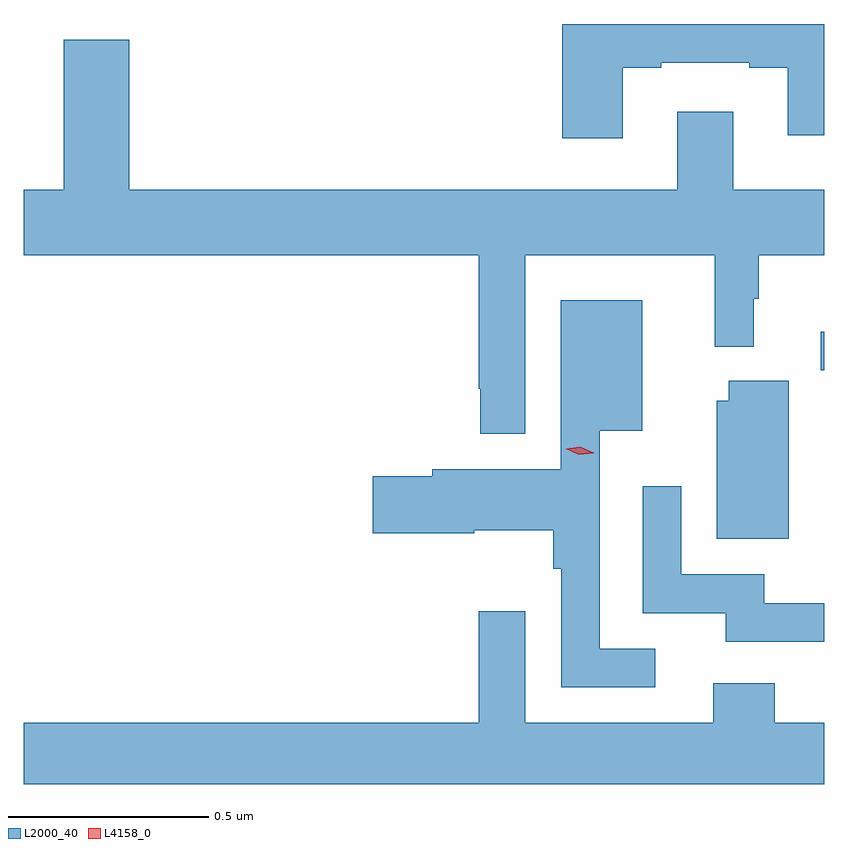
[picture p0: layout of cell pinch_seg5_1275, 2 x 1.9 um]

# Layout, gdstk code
import gdstk
lib = gdstk.Library(unit=1e-6, precision=1e-09)
def R(c, l, rs):  # rectangles x0, y0, x1, y1
    for r in rs: c.add(gdstk.rectangle(r[:2], r[2:], *l))
def P(c, l, *ps):  # polygons
    for p in ps: c.add(gdstk.Polygon(p, *l))
L2000_40 = (2000, 40)
L4158_0 = (4158, 0)

pinch_seg5_1275 = lib.new_cell('pinch_seg5_1275')
R(pinch_seg5_1275, L2000_40, [(478.587,897.765,478.596,897.861)])
P(pinch_seg5_1275, L2000_40, [(478.093,898.521),(478.189,898.521),(478.189,898.533),(478.409,898.533),(478.409,898.521),(478.505,898.521),(478.505,898.352),(478.596,898.352),(478.596,898.63),(477.941,898.63),(477.941,898.344),(478.093,898.344)],
  [(477.849,898.052),(478.322,898.052),(478.322,897.823),(478.42,897.823),(478.42,897.944),(478.432,897.944),(478.432,898.052),(478.596,898.052),(478.596,898.216),(478.369,898.216),(478.369,898.411),(478.229,898.411),(478.229,898.216),(476.86,898.216),(476.86,898.591),(476.696,898.591),(476.696,898.216),(476.596,898.216),(476.596,898.052),(477.733,898.052),(477.733,897.718),(477.737,897.718),(477.737,897.606),(477.849,897.606)],
  [(478.174,897.069),(478.035,897.069),(478.035,897.614),(478.141,897.614),(478.141,897.94),(477.938,897.94),(477.938,897.517),(477.617,897.517),(477.617,897.5),(477.468,897.5),(477.468,897.358),(477.721,897.358),(477.721,897.365),(477.919,897.365),(477.919,897.269),(477.939,897.269),(477.939,896.973),(478.174,896.973)],
  [(478.507,897.738),(478.358,897.738),(478.358,897.688),(478.328,897.688),(478.328,897.344),(478.507,897.344)],
  [(478.596,897.183),(478.446,897.183),(478.446,897.255),(478.239,897.255),(478.239,897.475),(478.143,897.475),(478.143,897.158),(478.35,897.158),(478.35,897.086),(478.596,897.086)],
  [(478.596,896.884),(478.472,896.884),(478.472,896.983),(478.319,896.983),(478.319,896.884),(477.849,896.884),(477.849,897.163),(477.733,897.163),(477.733,896.884),(476.596,896.884),(476.596,896.731),(478.596,896.731)])
P(pinch_seg5_1275, L4158_0, [(477.983,897.554),(477.95,897.569),(477.949,897.569),(477.95,897.569),(477.986,897.574),(478.02,897.559),(478.02,897.558),(478.02,897.558)])

lib.write_gds('pinch_seg5_1275.gds')
